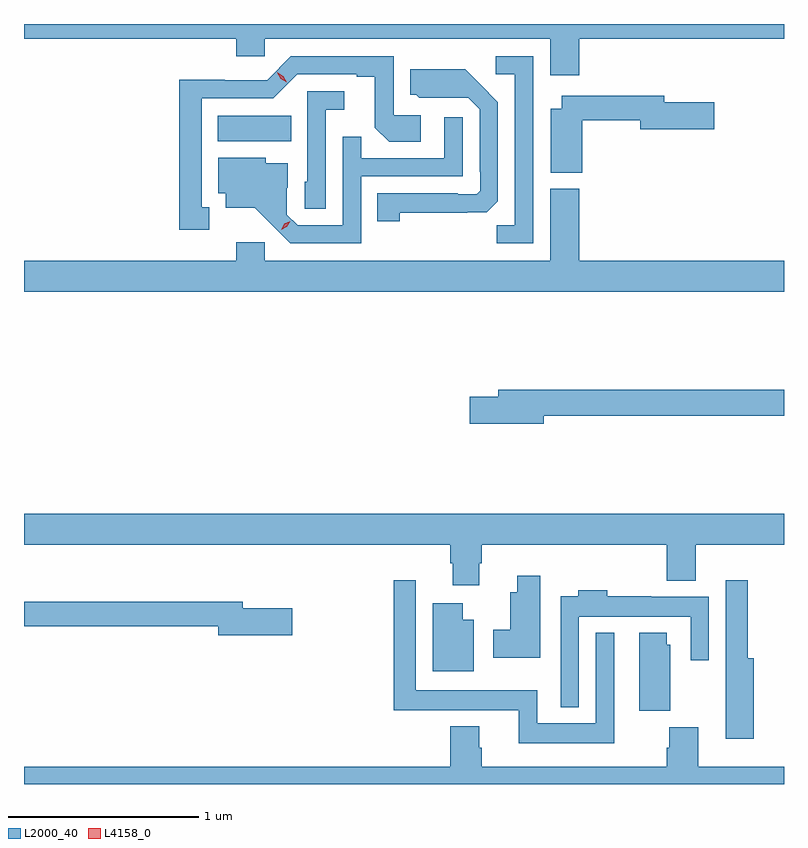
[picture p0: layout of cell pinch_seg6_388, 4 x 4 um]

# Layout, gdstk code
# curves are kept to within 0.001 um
import gdstk
lib = gdstk.Library(unit=1e-6, precision=1e-09)
def R(c, l, rs):  # rectangles x0, y0, x1, y1
    for r in rs: c.add(gdstk.rectangle(r[:2], r[2:], *l))
def P(c, l, *ps):  # polygons
    for p in ps: c.add(gdstk.Polygon(p, *l))
L2000_40 = (2000, 40)
L4158_0 = (4158, 0)

pinch_seg6_388 = lib.new_cell('pinch_seg6_388')
R(pinch_seg6_388, L2000_40, [(684.155,933.476,684.542,933.61)])
P(pinch_seg6_388, L2000_40, [(686.057,934.016),(687.135,934.016),(687.135,934.093),(683.135,934.093),(683.135,934.016),(684.251,934.016),(684.251,933.923),(684.402,933.923),(684.402,934.016),(685.904,934.016),(685.904,933.822),(686.057,933.822)],
  [(684.109,933.129),(684.07,933.129),(684.07,933.702),(684.447,933.702),(684.573,933.828),(684.887,933.828),(684.887,933.816),(684.981,933.816),(684.981,933.548),(685.057,933.472),(685.222,933.472),(685.222,933.612),(685.08,933.612),(685.08,933.924),(684.54,933.924),(684.414,933.798),(684.192,933.798),(684.192,933.8),(683.952,933.8),(683.952,933.009),(684.109,933.009)],
  [(685.815,933.924),(685.617,933.924),(685.617,933.828),(685.719,933.828),(685.719,933.035),(685.624,933.035),(685.624,932.94),(685.815,932.94)],
  [(685.113,933.1),(685.57,933.101),(685.629,933.16),(685.629,933.682),(685.457,933.856),(685.169,933.856),(685.169,933.72),(685.2,933.72),(685.216,933.704),(685.473,933.705),(685.533,933.645),(685.533,933.316),(685.536,933.316),(685.536,933.216),(685.518,933.198),(685.418,933.198),(685.418,933.201),(684.994,933.201),(684.994,933.054),(685.113,933.054)],
  [(684.723,933.641),(684.82,933.641),(684.82,933.738),(684.627,933.738),(684.627,933.264),(684.612,933.264),(684.612,933.121),(684.723,933.121)],
  [(686.074,933.586),(686.378,933.586),(686.378,933.539),(686.767,933.539),(686.767,933.681),(686.506,933.681),(686.506,933.715),(685.964,933.715),(685.964,933.646),(685.907,933.646),(685.907,933.311),(686.074,933.311)],
  [(684.909,933.291),(685.443,933.291),(685.443,933.601),(685.347,933.601),(685.347,933.387),(684.911,933.387),(684.911,933.5),(684.813,933.5),(684.813,933.033),(684.576,933.033),(684.519,933.09),(684.519,933.232),(684.523,933.232),(684.523,933.361),(684.408,933.361),(684.408,933.388),(684.158,933.388),(684.158,933.201),(684.197,933.201),(684.197,933.125),(684.349,933.125),(684.536,932.94),(684.909,932.94)],
  [(687.135,932.848),(686.057,932.848),(686.057,933.226),(685.904,933.226),(685.904,932.848),(684.402,932.848),(684.402,932.944),(684.251,932.944),(684.251,932.848),(683.135,932.848),(683.135,932.684),(687.135,932.684)],
  [(685.87,932.032),(687.135,932.032),(687.135,932.168),(685.631,932.168),(685.631,932.132),(685.482,932.132),(685.482,931.99),(685.87,931.99)],
  [(685.531,931.254),(685.544,931.254),(685.544,931.352),(686.519,931.352),(686.519,931.163),(686.671,931.163),(686.671,931.352),(687.135,931.352),(687.135,931.516),(683.135,931.516),(683.135,931.352),(685.379,931.352),(685.379,931.254),(685.391,931.254),(685.391,931.14),(685.531,931.14)],
  [(685.852,931.189),(685.73,931.189),(685.73,931.102),(685.694,931.102),(685.694,930.906),(685.605,930.906),(685.605,930.758),(685.852,930.758)],
  [(686.975,930.754),(686.945,930.754),(686.945,931.165),(686.829,931.165),(686.829,930.65),(686.828,930.65),(686.828,930.33),(686.975,930.33)],
  [(686.242,930.889),(686.145,930.889),(686.145,930.412),(685.836,930.412),(685.836,930.586),(685.197,930.586),(685.197,931.165),(685.081,931.165),(685.081,930.48),(685.204,930.48),(685.204,930.482),(685.739,930.482),(685.739,930.308),(686.242,930.308)],
  [(686.055,930.974),(686.643,930.974),(686.643,930.744),(686.739,930.744),(686.739,931.078),(686.435,931.078),(686.435,931.081),(686.204,931.081),(686.204,931.114),(686.051,931.114),(686.051,931.081),(685.959,931.081),(685.959,930.497),(686.055,930.497)],
  [(684.547,931.017),(684.286,931.017),(684.286,931.051),(683.135,931.051),(683.135,930.922),(684.158,930.922),(684.158,930.875),(684.547,930.875)],
  [(685.501,930.958),(685.444,930.958),(685.444,931.045),(685.286,931.045),(685.286,930.686),(685.501,930.686)],
  [(686.536,930.825),(686.518,930.825),(686.518,930.889),(686.372,930.889),(686.372,930.478),(686.536,930.478)],
  [(687.135,930.184),(686.684,930.184),(686.684,930.393),(686.531,930.393),(686.531,930.284),(686.519,930.284),(686.519,930.184),(685.544,930.184),(685.544,930.285),(685.531,930.285),(685.531,930.397),(685.379,930.397),(685.379,930.184),(683.135,930.184),(683.135,930.093),(687.135,930.093)])
P(pinch_seg6_388, L4158_0, [(684.488,933.011),(684.488,933.011),(684.505,933.041),(684.536,933.056),(684.536,933.056),(684.536,933.056),(684.519,933.026),(684.489,933.011)],
  [(684.518,933.787),(684.486,933.805),(684.468,933.837),(684.468,933.838),(684.468,933.838),(684.5,933.819),(684.518,933.787),(684.518,933.787)])

lib.write_gds('pinch_seg6_388.gds')
